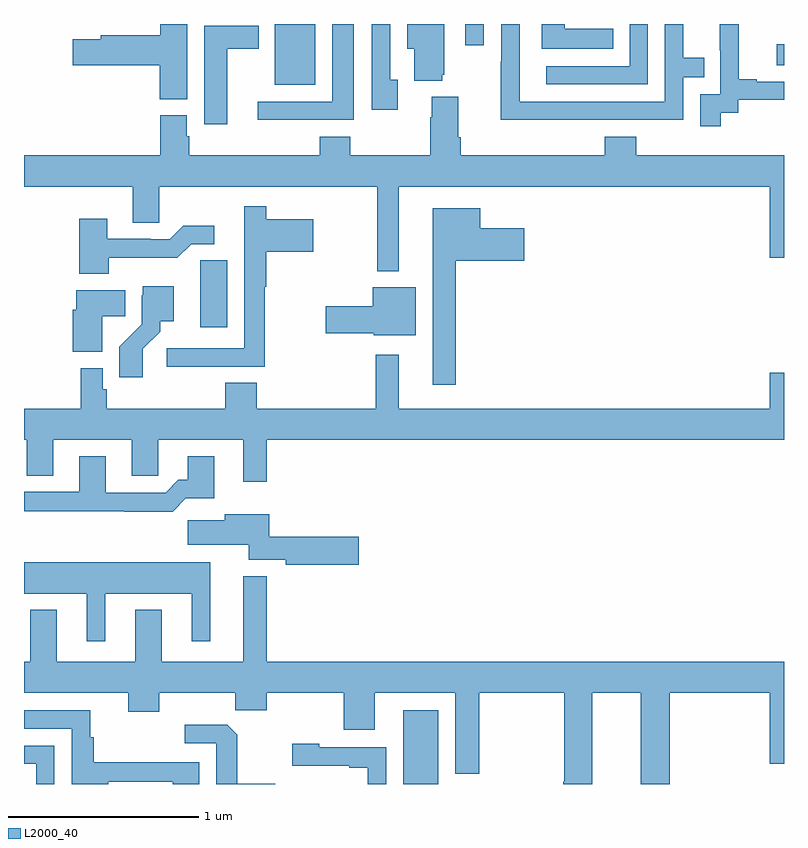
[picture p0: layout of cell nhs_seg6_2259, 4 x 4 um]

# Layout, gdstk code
import gdstk
lib = gdstk.Library(unit=1e-6, precision=1e-09)
def R(c, l, rs):  # rectangles x0, y0, x1, y1
    for r in rs: c.add(gdstk.rectangle(r[:2], r[2:], *l))
def P(c, l, *ps):  # polygons
    for p in ps: c.add(gdstk.Polygon(p, *l))
L2000_40 = (2000, 40)

nhs_seg6_2259 = lib.new_cell('nhs_seg6_2259')
R(nhs_seg6_2259, L2000_40, [(246.995,969.5,247.18,969.889), (246.32,973.181,246.532,973.5), (248.961,973.284,249,973.393), (247.323,973.389,247.419,973.5)])
P(nhs_seg6_2259, L2000_40, [(248.668,973.033),(248.76,973.033),(248.76,973.101),(249,973.101),(249,973.197),(248.857,973.197),(248.857,973.21),(248.762,973.21),(248.762,973.493),(248.763,973.493),(248.763,973.5),(248.663,973.5),(248.663,973.361),(248.664,973.361),(248.664,973.131),(248.559,973.131),(248.559,972.963),(248.668,972.963)],
  [(247.973,972.996),(248.469,972.996),(248.469,973.221),(248.579,973.221),(248.579,973.322),(248.469,973.322),(248.469,973.5),(248.373,973.5),(248.373,973.092),(247.608,973.092),(247.608,973.5),(247.512,973.5),(247.512,973.301),(247.51,973.301),(247.51,972.995),(247.973,972.995)],
  [(246.967,973.206),(246.927,973.206),(246.927,973.5),(246.831,973.5),(246.831,973.05),(246.967,973.05)],
  [(248.102,973.474),(247.845,973.474),(247.845,973.5),(247.724,973.5),(247.724,973.37),(248.102,973.37)],
  [(246.736,973.5),(246.623,973.5),(246.623,973.092),(246.231,973.092),(246.231,972.995),(246.736,972.995)],
  [(247.202,973.233),(247.213,973.233),(247.213,973.5),(247.016,973.5),(247.016,973.37),(247.055,973.37),(247.055,973.202),(247.202,973.202)],
  [(245.86,973.5),(245.716,973.5),(245.716,973.441),(245.405,973.441),(245.405,973.419),(245.256,973.419),(245.256,973.282),(245.714,973.282),(245.714,973.105),(245.86,973.105)],
  [(248.283,973.5),(248.187,973.5),(248.187,973.278),(247.749,973.278),(247.749,973.182),(248.283,973.182)],
  [(246.07,973.37),(246.235,973.37),(246.235,973.492),(245.948,973.492),(245.948,972.972),(246.07,972.972)],
  [(246.973,972.644),(248.924,972.644),(248.924,972.27),(249,972.27),(249,972.808),(248.222,972.808),(248.222,972.907),(248.057,972.907),(248.057,972.808),(247.298,972.808),(247.298,972.904),(247.285,972.904),(247.285,973.117),(247.145,973.117),(247.145,973.01),(247.138,973.01),(247.138,972.808),(246.717,972.808),(246.717,972.907),(246.557,972.907),(246.557,972.808),(245.87,972.808),(245.87,972.909),(245.857,972.909),(245.857,973.02),(245.717,973.02),(245.717,972.808),(245,972.808),(245,972.644),(245.573,972.644),(245.573,972.454),(245.712,972.454),(245.712,972.644),(246.859,972.644),(246.859,972.2),(246.973,972.2)],
  [(245.975,971.697),(246.268,971.697),(246.268,972.118),(246.275,972.118),(246.275,972.302),(246.523,972.302),(246.523,972.472),(246.275,972.472),(246.275,972.541),(246.158,972.541),(246.158,972.318),(246.159,972.318),(246.159,971.793),(245.751,971.793),(245.751,971.695),(245.975,971.695)],
  [(247.273,972.254),(247.633,972.254),(247.633,972.424),(247.402,972.424),(247.402,972.529),(247.151,972.529),(247.151,971.601),(247.273,971.601)],
  [(245.445,972.27),(245.807,972.27),(245.88,972.342),(246.001,972.342),(246.001,972.439),(245.839,972.439),(245.766,972.366),(245.666,972.366),(245.666,972.369),(245.437,972.369),(245.437,972.475),(245.29,972.475),(245.29,972.185),(245.445,972.185)],
  [(246.07,972.257),(245.928,972.257),(245.928,972.146),(245.927,972.146),(245.927,971.904),(246.07,971.904)],
  [(245.626,971.791),(245.716,971.881),(245.716,971.936),(245.788,971.936),(245.788,972.121),(245.624,972.121),(245.624,972.072),(245.619,972.072),(245.619,971.921),(245.5,971.802),(245.5,971.64),(245.626,971.64)],
  [(247.063,972.115),(246.836,972.115),(246.836,972.014),(246.588,972.014),(246.588,971.872),(246.84,971.872),(246.84,971.861),(247.063,971.861)],
  [(245.413,971.962),(245.534,971.962),(245.534,972.1),(245.276,972.1),(245.276,971.997),(245.257,971.997),(245.257,971.774),(245.413,971.774)],
  [(246.277,971.312),(249,971.312),(249,971.665),(248.924,971.665),(248.924,971.476),(246.973,971.476),(246.973,971.758),(246.852,971.758),(246.852,971.476),(246.224,971.476),(246.224,971.612),(246.059,971.612),(246.059,971.476),(245.435,971.476),(245.435,971.577),(245.415,971.577),(245.415,971.689),(245.299,971.689),(245.299,971.476),(245,971.476),(245,971.312),(245.015,971.312),(245.015,971.122),(245.155,971.122),(245.155,971.312),(245.567,971.312),(245.567,971.122),(245.706,971.122),(245.706,971.312),(246.155,971.312),(246.155,971.091),(246.277,971.091)],
  [(245.852,971.003),(246.001,971.003),(246.001,971.224),(245.861,971.224),(245.861,971.101),(245.812,971.101),(245.745,971.034),(245.431,971.034),(245.431,971.224),(245.291,971.224),(245.291,971.037),(245,971.037),(245,970.936),(245.527,970.936),(245.527,970.934),(245.783,970.934)],
  [(246.763,970.802),(246.292,970.802),(246.292,970.921),(246.056,970.921),(246.056,970.889),(245.862,970.889),(245.862,970.76),(246.182,970.76),(246.182,970.679),(246.378,970.679),(246.378,970.655),(246.763,970.655)],
  [(245.428,970.502),(245.882,970.502),(245.882,970.251),(245.98,970.251),(245.98,970.666),(245,970.666),(245,970.502),(245.33,970.502),(245.33,970.251),(245.428,970.251)],
  [(246.277,970.594),(246.155,970.594),(246.155,970.144),(245.725,970.144),(245.725,970.417),(245.585,970.417),(245.585,970.144),(245.173,970.144),(245.173,970.417),(245.033,970.417),(245.033,970.144),(245,970.144),(245,969.98),(245.549,969.98),(245.549,969.881),(245.713,969.881),(245.713,969.98),(246.113,969.98),(246.113,969.887),(246.277,969.887),(246.277,969.98),(246.683,969.98),(246.683,969.786),(246.847,969.786),(246.847,969.98),(247.271,969.98),(247.271,969.555),(247.395,969.555),(247.395,969.98),(247.843,969.98),(247.843,969.513),(247.838,969.513),(247.838,969.5),(247.99,969.5),(247.99,969.98),(248.246,969.98),(248.246,969.5),(248.399,969.5),(248.399,969.98),(248.924,969.98),(248.924,969.606),(249,969.606),(249,970.144),(246.277,970.144)],
  [(245.443,969.513),(245.783,969.513),(245.783,969.5),(245.923,969.5),(245.923,969.614),(245.366,969.614),(245.366,969.746),(245.348,969.746),(245.348,969.888),(245,969.888),(245,969.792),(245.25,969.792),(245.25,969.5),(245.443,969.5)],
  [(246.323,969.502),(246.123,969.502),(246.123,969.759),(246.071,969.811),(245.847,969.811),(245.847,969.714),(246.012,969.714),(246.012,969.5),(246.323,969.5)],
  [(246.906,969.693),(246.555,969.693),(246.555,969.712),(246.411,969.712),(246.411,969.597),(246.713,969.597),(246.713,969.585),(246.81,969.585),(246.81,969.5),(246.906,969.5)],
  [(245.16,969.702),(245,969.702),(245,969.606),(245.064,969.606),(245.064,969.5),(245.16,969.5)])

lib.write_gds('nhs_seg6_2259.gds')
